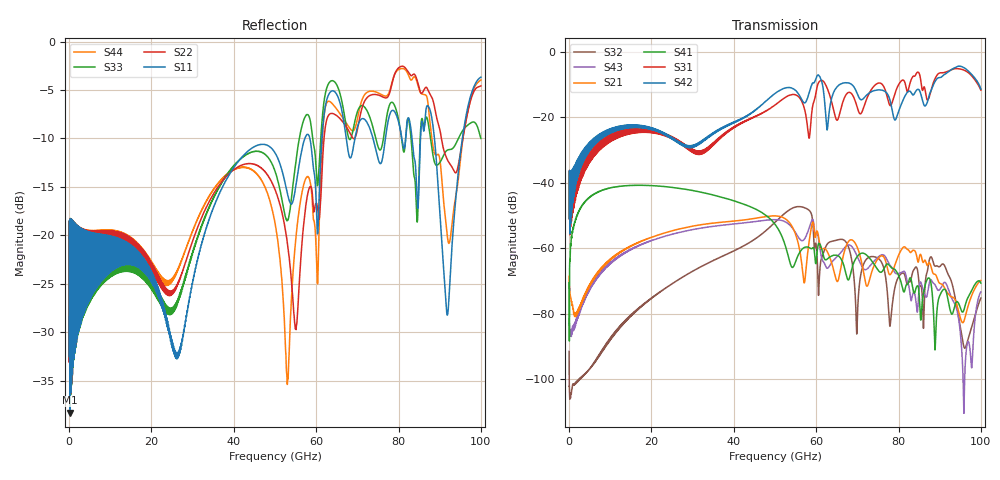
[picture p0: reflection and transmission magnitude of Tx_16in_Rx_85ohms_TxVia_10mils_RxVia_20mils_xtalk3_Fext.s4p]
! Info: Touchstone file created by Circ.  Input file=Tx_16in_Rx_85ohms_TxVia_10mils_RxVia_20mils.circ
# Hz S RI R 50
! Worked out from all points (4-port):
!   10000 points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, 10 MHz to 100 GHz, reference 50 ohm
!   strongest paths, dB at 10 MHz, 25.01 GHz, 50.01 GHz, 75.01 GHz, 100 GHz:
!     S42: -50.9, -26.5, -12.8, -11.7, -11.5
!     S31: -51.0, -26.4, -16.3, -9.7, -11.8
!     S41: -70.6, -41.5, -52.7, -66.7, -70.7
!     S21: -68.6, -54.7, -50.2, -63.2, -69.9
!     S43: -81.7, -55.8, -51.3, -62.8, -73.4
!     S32: -91.6, -70.9, -52.1, -63.1, -75.2
!   lowest |S11| = -38.3 dB at 200 MHz (marker M1), VSWR 1.02, Z = 49.1 - j0.839 ohm
!   |S11| at or under -10 dB: start of sweep to 57.25 GHz; 73.8 GHz to 76.82 GHz (3.021 GHz wide, 4.01 % of centre); 88.73 GHz to 95.51 GHz (6.78 GHz wide, 7.36 % of centre) (the widest 3 of 7)
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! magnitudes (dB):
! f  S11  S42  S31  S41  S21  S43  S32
! 10 MHz  -32.5  -50.9  -51.0  -70.6  -68.6  -81.7  -91.6
! 200 MHz  -38.3  -48.7  -48.7  -63.7  -73.7  -86.1  -105.8
! 15.28 GHz  -21.3  -22.8  -24.2  -40.9  -59.1  -60.1  -80.0
! 55.68 GHz  -13.2  -12.9  -13.7  -62.0  -58.7  -56.7  -47.3
! 69.88 GHz  -9.1  -12.5  -16.7  -62.7  -59.5  -62.2  -86.0
! 91.84 GHz  -28.2  -6.4  -6.0  -74.7  -73.6  -71.6  -67.4
! 100 GHz  -3.7  -11.5  -11.8  -70.7  -69.9  -73.4  -75.2
